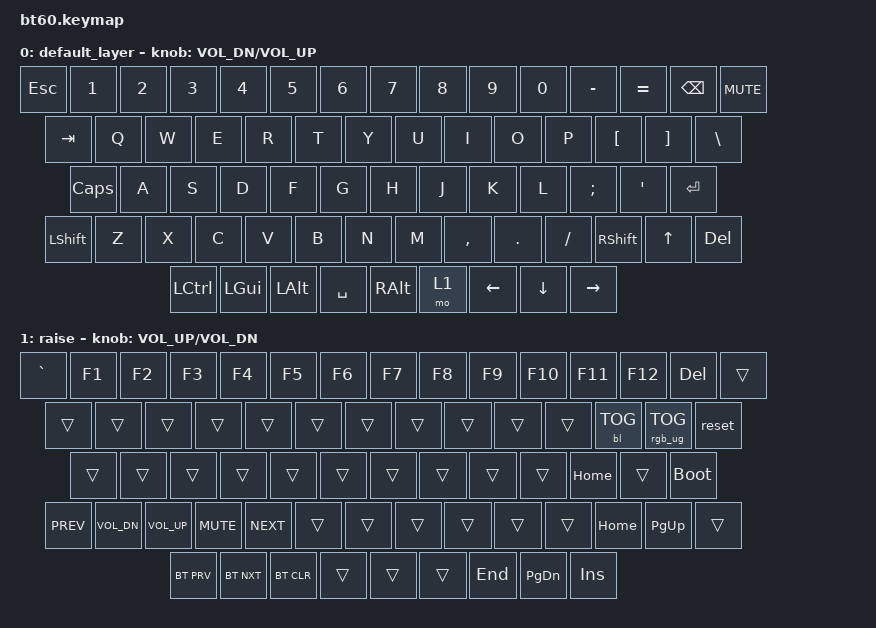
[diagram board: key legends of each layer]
#include <behaviors.dtsi>
#include <dt-bindings/zmk/keys.h>
#include <dt-bindings/zmk/bt.h>
#include <dt-bindings/zmk/rgb.h>
#include <dt-bindings/zmk/backlight.h>

/ {
	keymap {
		compatible = "zmk,keymap";

		default_layer {
				// ------------------------------------------------------------------------------------------
				// | ESC |  1  |  2  |  3  |  4  |  5  |  6  |  7  |  8  |  9  |  0  |  -  |  =  |BKSP |MUTE|
				// | TAB  |  Q  |  W  |  E  |  R  |  T  |  Y  |  U  |  I  |  O  |  P  |  [  |  ]  |   "|"   |
				// | CAPS  |  A  |  S  |  D  |  F  |  G  |  H  |  J  |  K  |  L  |  ;  |  '  |     ENTER    |
				// |  SHIFT    |  Z  |  X  |  C  |  V  |  B  |  N  |  M  |  ,  |  .  | /   | SHFT | UP |DEL |
				// |  CTL  |  WIN  |  ALT  |            SPACE              | ALT |MO 1| LEFT | DOWN | RIGHT |
				// ------------------------------------------------------------------------------------------
			bindings = <
				&kp ESC &kp N1 &kp N2 &kp N3 &kp N4 &kp N5 &kp N6 &kp N7 &kp N8 &kp N9 &kp N0 &kp MINUS &kp EQUAL &kp BSPC &kp C_MUTE
				&kp TAB  &kp Q  &kp W  &kp E  &kp R  &kp T  &kp Y  &kp U  &kp  I    &kp  O  &kp  P   &kp LBKT &kp RBKT  &kp BSLH
				&kp CLCK  &kp A  &kp S  &kp D  &kp F  &kp G  &kp H  &kp J  &kp  K    &kp  L  &kp SEMI &kp SQT           &kp RET
				&kp LSHFT  &kp Z  &kp X  &kp C  &kp V  &kp B  &kp N  &kp M  &kp COMMA &kp DOT &kp FSLH    &kp RSHFT &kp UP   &kp DEL
				&kp LCTRL &kp LGUI &kp LALT            &kp SPACE                          &kp RALT  &mo 1 &kp LEFT &kp DOWN &kp RIGHT
			>;
			sensor-bindings = <&inc_dec_kp C_VOL_DN C_VOL_UP>;
		};
		raise {
			bindings = <
				&kp GRAVE &kp F1 &kp F2 &kp F3 &kp F4 &kp F5 &kp F6 &kp F7 &kp F8  &kp F9 &kp F10 &kp F11  &kp F12 &kp DEL &trans
				&trans    &trans &trans &trans &trans &trans &trans &trans &trans &trans &trans    &bl BL_TOG      &rgb_ug RGB_TOG      &reset
				&trans    &trans &trans &trans &trans &trans &trans &trans &trans &trans &kp HOME  &trans      &bootloader
				&kp C_PREV &kp C_VOL_DN &kp C_VOL_UP &kp C_MUTE &kp C_NEXT &trans &trans &trans &trans &trans &trans &kp HOME &kp PG_UP &trans
				&bt BT_PRV &bt BT_NXT  &bt BT_CLR              &trans                            	   &trans &trans &kp END  &kp PG_DN &kp INS
			>;
			sensor-bindings = <&inc_dec_kp C_VOL_UP C_VOL_DN>;
		};
	};
};
